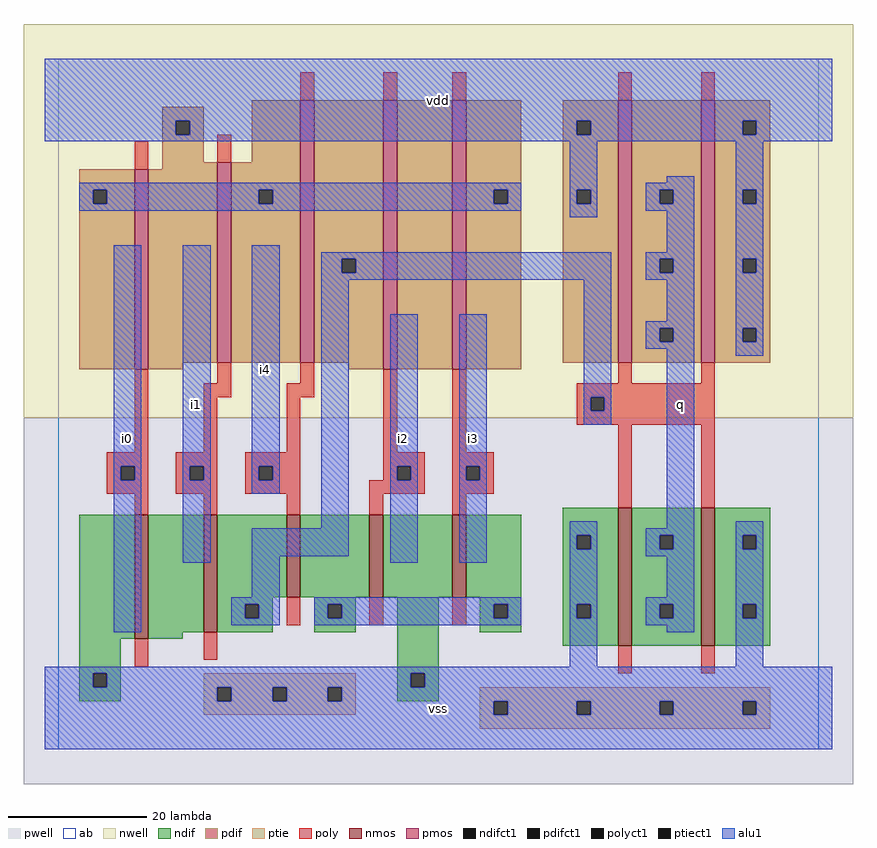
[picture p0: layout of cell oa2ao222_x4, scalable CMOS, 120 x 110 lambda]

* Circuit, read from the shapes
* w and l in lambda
.subckt oa2ao222_x4 i0 i1 i2 i3 i4 q vdd vss
M1 n1 i0 vss vss nfet w=18 l=2
M2 n2 i1 n1 vss nfet w=17 l=2
M3 n3 i4 n2 vss nfet w=12 l=2
M4 vss i2 n3 vss nfet w=12 l=2
M5 n3 i3 vss vss nfet w=12 l=2
M6 q n2 vss vss nfet w=20 l=2 m=2
M7 vdd i0 n4 n5 pfet w=29 l=2
M8 n4 i1 vdd n5 pfet w=29 l=2
M9 n2 i4 n4 n5 pfet w=38 l=2
M10 n6 i2 n2 n5 pfet w=39 l=2
M11 n4 i3 n6 n5 pfet w=39 l=2
M12 q n2 vdd n5 pfet w=38 l=2 m=2
.ends

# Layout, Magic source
magic
tech scmos
<< ab >>
rect 0 0 110 100
<< nwell >>
rect -5 48 115 105
<< pwell >>
rect -5 -5 115 48
<< poly >>
rect 35 94 37 98
rect 47 94 49 98
rect 57 94 59 98
rect 81 94 83 98
rect 93 94 95 98
rect 11 84 13 88
rect 23 85 25 89
rect 11 43 13 55
rect 23 53 25 56
rect 35 53 37 56
rect 21 51 25 53
rect 33 51 37 53
rect 21 43 23 51
rect 33 43 35 51
rect 7 41 13 43
rect 7 39 9 41
rect 11 39 13 41
rect 7 37 13 39
rect 17 41 23 43
rect 17 39 19 41
rect 21 39 23 41
rect 17 37 23 39
rect 27 41 35 43
rect 27 39 29 41
rect 31 39 35 41
rect 47 43 49 55
rect 57 43 59 55
rect 81 53 83 56
rect 93 53 95 56
rect 75 51 95 53
rect 75 49 77 51
rect 79 49 95 51
rect 75 47 95 49
rect 47 41 53 43
rect 47 39 49 41
rect 51 39 53 41
rect 27 37 35 39
rect 11 34 13 37
rect 21 34 23 37
rect 33 34 35 37
rect 45 37 53 39
rect 57 41 63 43
rect 57 39 59 41
rect 61 39 63 41
rect 57 37 63 39
rect 45 34 47 37
rect 57 34 59 37
rect 81 35 83 47
rect 93 35 95 47
rect 33 18 35 22
rect 45 18 47 22
rect 11 12 13 16
rect 21 13 23 17
rect 57 18 59 22
rect 81 11 83 15
rect 93 11 95 15
<< ndif >>
rect 3 16 11 34
rect 13 17 21 34
rect 23 22 33 34
rect 35 22 45 34
rect 47 22 57 34
rect 59 22 67 34
rect 23 21 31 22
rect 23 19 27 21
rect 29 19 31 21
rect 23 17 31 19
rect 37 21 43 22
rect 37 19 39 21
rect 41 19 43 21
rect 37 17 43 19
rect 13 16 18 17
rect 3 11 9 16
rect 49 11 55 22
rect 61 21 67 22
rect 61 19 63 21
rect 65 19 67 21
rect 61 17 67 19
rect 73 31 81 35
rect 73 29 75 31
rect 77 29 81 31
rect 73 21 81 29
rect 73 19 75 21
rect 77 19 81 21
rect 73 15 81 19
rect 83 31 93 35
rect 83 29 87 31
rect 89 29 93 31
rect 83 21 93 29
rect 83 19 87 21
rect 89 19 93 21
rect 83 15 93 19
rect 95 31 103 35
rect 95 29 99 31
rect 101 29 103 31
rect 95 21 103 29
rect 95 19 99 21
rect 101 19 103 21
rect 95 15 103 19
rect 3 9 5 11
rect 7 9 9 11
rect 3 7 9 9
rect 49 9 51 11
rect 53 9 55 11
rect 49 7 55 9
<< pdif >>
rect 15 91 21 93
rect 15 89 17 91
rect 19 89 21 91
rect 15 85 21 89
rect 28 85 35 94
rect 15 84 23 85
rect 3 81 11 84
rect 3 79 5 81
rect 7 79 11 81
rect 3 55 11 79
rect 13 56 23 84
rect 25 81 35 85
rect 25 79 29 81
rect 31 79 35 81
rect 25 56 35 79
rect 37 71 47 94
rect 37 69 41 71
rect 43 69 47 71
rect 37 56 47 69
rect 13 55 18 56
rect 42 55 47 56
rect 49 55 57 94
rect 59 81 67 94
rect 59 79 63 81
rect 65 79 67 81
rect 59 55 67 79
rect 73 91 81 94
rect 73 89 75 91
rect 77 89 81 91
rect 73 81 81 89
rect 73 79 75 81
rect 77 79 81 81
rect 73 56 81 79
rect 83 81 93 94
rect 83 79 87 81
rect 89 79 93 81
rect 83 71 93 79
rect 83 69 87 71
rect 89 69 93 71
rect 83 61 93 69
rect 83 59 87 61
rect 89 59 93 61
rect 83 56 93 59
rect 95 91 103 94
rect 95 89 99 91
rect 101 89 103 91
rect 95 81 103 89
rect 95 79 99 81
rect 101 79 103 81
rect 95 71 103 79
rect 95 69 99 71
rect 101 69 103 71
rect 95 61 103 69
rect 95 59 99 61
rect 101 59 103 61
rect 95 56 103 59
<< alu1 >>
rect -2 91 112 100
rect -2 89 17 91
rect 19 89 75 91
rect 77 89 99 91
rect 101 89 112 91
rect -2 88 112 89
rect 3 81 67 82
rect 3 79 5 81
rect 7 79 29 81
rect 31 79 63 81
rect 65 79 67 81
rect 3 78 67 79
rect 74 81 78 88
rect 88 82 92 83
rect 74 79 75 81
rect 77 79 78 81
rect 74 77 78 79
rect 85 81 92 82
rect 85 79 87 81
rect 89 79 92 81
rect 85 78 92 79
rect 8 41 12 73
rect 8 39 9 41
rect 11 39 12 41
rect 8 17 12 39
rect 18 41 22 73
rect 18 39 19 41
rect 21 39 22 41
rect 18 27 22 39
rect 28 41 32 73
rect 88 72 92 78
rect 28 39 29 41
rect 31 39 32 41
rect 28 37 32 39
rect 38 71 80 72
rect 38 69 41 71
rect 43 69 80 71
rect 38 68 80 69
rect 85 71 92 72
rect 85 69 87 71
rect 89 69 92 71
rect 85 68 92 69
rect 38 32 42 68
rect 28 28 42 32
rect 48 41 52 63
rect 48 39 49 41
rect 51 39 52 41
rect 28 22 32 28
rect 48 27 52 39
rect 58 41 62 63
rect 76 51 80 68
rect 88 62 92 68
rect 85 61 92 62
rect 85 59 87 61
rect 89 59 92 61
rect 85 58 92 59
rect 76 49 77 51
rect 79 49 80 51
rect 76 47 80 49
rect 58 39 59 41
rect 61 39 62 41
rect 58 27 62 39
rect 74 31 78 33
rect 88 32 92 58
rect 98 81 102 88
rect 98 79 99 81
rect 101 79 102 81
rect 98 71 102 79
rect 98 69 99 71
rect 101 69 102 71
rect 98 61 102 69
rect 98 59 99 61
rect 101 59 102 61
rect 98 57 102 59
rect 74 29 75 31
rect 77 29 78 31
rect 25 21 32 22
rect 25 19 27 21
rect 29 19 32 21
rect 25 18 32 19
rect 37 21 67 22
rect 37 19 39 21
rect 41 19 63 21
rect 65 19 67 21
rect 37 18 67 19
rect 74 21 78 29
rect 85 31 92 32
rect 85 29 87 31
rect 89 29 92 31
rect 85 28 92 29
rect 88 22 92 28
rect 74 19 75 21
rect 77 19 78 21
rect 74 12 78 19
rect 85 21 92 22
rect 85 19 87 21
rect 89 19 92 21
rect 85 18 92 19
rect 88 17 92 18
rect 98 31 102 33
rect 98 29 99 31
rect 101 29 102 31
rect 98 21 102 29
rect 98 19 99 21
rect 101 19 102 21
rect 98 12 102 19
rect -2 11 112 12
rect -2 9 5 11
rect 7 9 51 11
rect 53 9 112 11
rect -2 7 23 9
rect 25 7 31 9
rect 33 7 39 9
rect 41 7 112 9
rect -2 5 63 7
rect 65 5 75 7
rect 77 5 87 7
rect 89 5 99 7
rect 101 5 112 7
rect -2 0 112 5
<< ptie >>
rect 21 9 43 11
rect 21 7 23 9
rect 25 7 31 9
rect 33 7 39 9
rect 41 7 43 9
rect 61 7 103 9
rect 21 5 43 7
rect 61 5 63 7
rect 65 5 75 7
rect 77 5 87 7
rect 89 5 99 7
rect 101 5 103 7
rect 61 3 103 5
<< nmos >>
rect 11 16 13 34
rect 21 17 23 34
rect 33 22 35 34
rect 45 22 47 34
rect 57 22 59 34
rect 81 15 83 35
rect 93 15 95 35
<< pmos >>
rect 11 55 13 84
rect 23 56 25 85
rect 35 56 37 94
rect 47 55 49 94
rect 57 55 59 94
rect 81 56 83 94
rect 93 56 95 94
<< polyct1 >>
rect 9 39 11 41
rect 19 39 21 41
rect 29 39 31 41
rect 77 49 79 51
rect 49 39 51 41
rect 59 39 61 41
<< ndifct1 >>
rect 27 19 29 21
rect 39 19 41 21
rect 63 19 65 21
rect 75 29 77 31
rect 75 19 77 21
rect 87 29 89 31
rect 87 19 89 21
rect 99 29 101 31
rect 99 19 101 21
rect 5 9 7 11
rect 51 9 53 11
<< ptiect1 >>
rect 23 7 25 9
rect 31 7 33 9
rect 39 7 41 9
rect 63 5 65 7
rect 75 5 77 7
rect 87 5 89 7
rect 99 5 101 7
<< pdifct1 >>
rect 17 89 19 91
rect 5 79 7 81
rect 29 79 31 81
rect 41 69 43 71
rect 63 79 65 81
rect 75 89 77 91
rect 75 79 77 81
rect 87 79 89 81
rect 87 69 89 71
rect 87 59 89 61
rect 99 89 101 91
rect 99 79 101 81
rect 99 69 101 71
rect 99 59 101 61
<< labels >>
rlabel alu1 10 45 10 45 6 i0
rlabel alu1 20 50 20 50 6 i1
rlabel alu1 50 45 50 45 6 i2
rlabel alu1 30 55 30 55 6 i4
rlabel alu1 55 6 55 6 6 vss
rlabel alu1 60 45 60 45 6 i3
rlabel alu1 55 94 55 94 6 vdd
rlabel alu1 90 50 90 50 6 q
<< end >>
